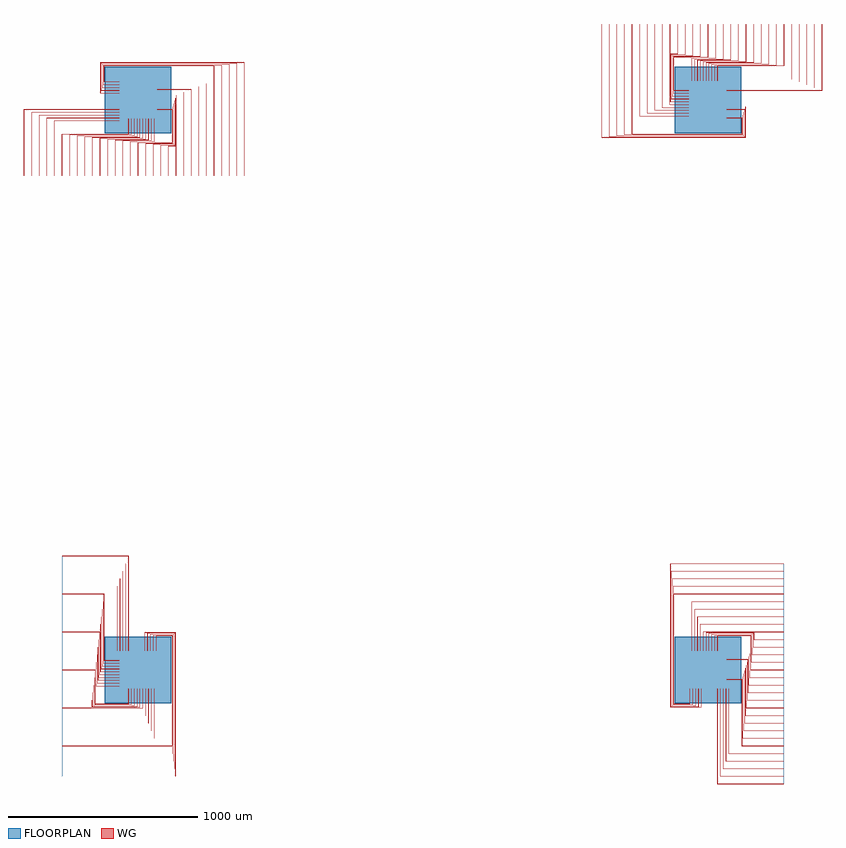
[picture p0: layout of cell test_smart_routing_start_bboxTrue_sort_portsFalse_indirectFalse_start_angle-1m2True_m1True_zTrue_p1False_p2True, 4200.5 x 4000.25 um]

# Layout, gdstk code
import gdstk
lib = gdstk.Library(unit=1e-6, precision=1e-09)
def R(c, l, rs):  # rectangles x0, y0, x1, y1
    for r in rs: c.add(gdstk.rectangle(r[:2], r[2:], *l))
def P(c, l, *ps):  # polygons
    for p in ps: c.add(gdstk.Polygon(p, *l))
WG = (1, 0)
FLOORPLAN = (10, 0)

test_smart_routing_start = lib.new_cell('test_smart_routing_start_bboxTrue_sort_portsFalse_indirectFalse_start_angle-1m2True_m1True_zTrue_p1False_p2True')
P(test_smart_routing_start, WG, [(3100,3049.75),(3100,3050.25),(3599.75,3050.25),(3599.75,3400),(3600.25,3400),(3600.25,3049.75)],
  [(3100,3064.75),(3100,3065.25),(3559.75,3065.25),(3559.75,3400),(3560.25,3400),(3560.25,3064.75)],
  [(3100,3079.75),(3100,3080.25),(3519.75,3080.25),(3519.75,3400),(3520.25,3400),(3520.25,3079.75)],
  [(3100,3094.75),(3100,3095.25),(3479.75,3095.25),(3479.75,3400),(3480.25,3400),(3480.25,3094.75)],
  [(3100,3109.75),(3100,3110.25),(3439.75,3110.25),(3439.75,3400),(3440.25,3400),(3440.25,3109.75)],
  [(3049.75,3100),(3049.75,3179.5),(3399.75,3179.5),(3399.75,3400),(3400.25,3400),(3400.25,3179),(3050.25,3179),(3050.25,3100)],
  [(3034.75,3100),(3034.75,3184),(3359.75,3184),(3359.75,3400),(3360.25,3400),(3360.25,3183.5),(3035.25,3183.5),(3035.25,3100)],
  [(3019.75,3100),(3019.75,3188.5),(3319.75,3188.5),(3319.75,3400),(3320.25,3400),(3320.25,3188),(3020.25,3188),(3020.25,3100)],
  [(3004.75,3100),(3004.75,3193),(3279.75,3193),(3279.75,3400),(3280.25,3400),(3280.25,3192.5),(3005.25,3192.5),(3005.25,3100)],
  [(2989.75,3100),(2989.75,3197.5),(3239.75,3197.5),(3239.75,3400),(3240.25,3400),(3240.25,3197),(2990.25,3197),(2990.25,3100)],
  [(2974.75,3100),(2974.75,3202),(3199.75,3202),(3199.75,3400),(3200.25,3400),(3200.25,3201.5),(2975.25,3201.5),(2975.25,3100)],
  [(2959.75,3100),(2959.75,3206.5),(3159.75,3206.5),(3159.75,3400),(3160.25,3400),(3160.25,3206),(2960.25,3206),(2960.25,3100)],
  [(2944.75,3100),(2944.75,3211),(3119.75,3211),(3119.75,3400),(3120.25,3400),(3120.25,3210.5),(2945.25,3210.5),(2945.25,3100)],
  [(2929.75,3100),(2929.75,3215.5),(3079.75,3215.5),(3079.75,3400),(3080.25,3400),(3080.25,3215),(2930.25,3215),(2930.25,3100)],
  [(2914.75,3100),(2914.75,3220),(3039.75,3220),(3039.75,3400),(3040.25,3400),(3040.25,3219.5),(2915.25,3219.5),(2915.25,3100)],
  [(2820.5,3049.75),(2820.5,3224.5),(2999.75,3224.5),(2999.75,3400),(3000.25,3400),(3000.25,3224),(2821,3224),(2821,3050.25),(2900,3050.25),(2900,3049.75)],
  [(2816,3034.75),(2816,3229),(2959.75,3229),(2959.75,3400),(2960.25,3400),(2960.25,3228.5),(2816.5,3228.5),(2816.5,3035.25),(2900,3035.25),(2900,3034.75)],
  [(2811.5,3019.75),(2811.5,3233.5),(2919.75,3233.5),(2919.75,3400),(2920.25,3400),(2920.25,3233),(2812,3233),(2812,3020.25),(2900,3020.25),(2900,3019.75)],
  [(2807,3004.75),(2807,3238),(2879.75,3238),(2879.75,3400),(2880.25,3400),(2880.25,3237.5),(2807.5,3237.5),(2807.5,3005.25),(2900,3005.25),(2900,3004.75)],
  [(2802.5,2989.75),(2802.5,3242.5),(2839.75,3242.5),(2839.75,3400),(2840.25,3400),(2840.25,3242),(2803,3242),(2803,2990.25),(2900,2990.25),(2900,2989.75)],
  [(2798,2974.75),(2798,3247),(2799.75,3247),(2799.75,3400),(2800.25,3400),(2800.25,3246.5),(2798.5,3246.5),(2798.5,2975.25),(2900,2975.25),(2900,2974.75)],
  [(2759.75,2959.75),(2759.75,3400),(2760.25,3400),(2760.25,2960.25),(2900,2960.25),(2900,2959.75)],
  [(2719.75,2944.75),(2719.75,3400),(2720.25,3400),(2720.25,2945.25),(2900,2945.25),(2900,2944.75)],
  [(2679.75,2929.75),(2679.75,3400),(2680.25,3400),(2680.25,2930.25),(2900,2930.25),(2900,2929.75)],
  [(2639.75,2914.75),(2639.75,3400),(2640.25,3400),(2640.25,2915.25),(2900,2915.25),(2900,2914.75)],
  [(2439.75,2802.5),(2439.75,3400),(2440.25,3400),(2440.25,2803),(3197,2803),(3197,2964.75),(3100,2964.75),(3100,2965.25),(3197.5,2965.25),(3197.5,2802.5)],
  [(2479.75,2807),(2479.75,3400),(2480.25,3400),(2480.25,2807.5),(3192.5,2807.5),(3192.5,2949.75),(3100,2949.75),(3100,2950.25),(3193,2950.25),(3193,2807)],
  [(2519.75,2811.5),(2519.75,3400),(2520.25,3400),(2520.25,2812),(3188,2812),(3188,2934.75),(3100,2934.75),(3100,2935.25),(3188.5,2935.25),(3188.5,2811.5)],
  [(2559.75,2816),(2559.75,3400),(2560.25,3400),(2560.25,2816.5),(3183.5,2816.5),(3183.5,2919.75),(3100,2919.75),(3100,2920.25),(3184,2920.25),(3184,2816)],
  [(2599.75,2820.5),(2599.75,3400),(2600.25,3400),(2600.25,2821),(3179,2821),(3179,2904.75),(3100,2904.75),(3100,2905.25),(3179.5,2905.25),(3179.5,2820.5)],
  [(-600.25,2600),(-600.25,2950.25),(-100,2950.25),(-100,2949.75),(-599.75,2949.75),(-599.75,2600)],
  [(-560.25,2600),(-560.25,2935.25),(-100,2935.25),(-100,2934.75),(-559.75,2934.75),(-559.75,2600)],
  [(-520.25,2600),(-520.25,2920.25),(-100,2920.25),(-100,2919.75),(-519.75,2919.75),(-519.75,2600)],
  [(-480.25,2600),(-480.25,2905.25),(-100,2905.25),(-100,2904.75),(-479.75,2904.75),(-479.75,2600)],
  [(-440.25,2600),(-440.25,2890.25),(-100,2890.25),(-100,2889.75),(-439.75,2889.75),(-439.75,2600)],
  [(-400.25,2600),(-400.25,2821),(-50.25,2821),(-50.25,2900),(-49.75,2900),(-49.75,2820.5),(-399.75,2820.5),(-399.75,2600)],
  [(-360.25,2600),(-360.25,2816.5),(-35.25,2816.5),(-35.25,2900),(-34.75,2900),(-34.75,2816),(-359.75,2816),(-359.75,2600)],
  [(-320.25,2600),(-320.25,2812),(-20.25,2812),(-20.25,2900),(-19.75,2900),(-19.75,2811.5),(-319.75,2811.5),(-319.75,2600)],
  [(-280.25,2600),(-280.25,2807.5),(-5.25,2807.5),(-5.25,2900),(-4.75,2900),(-4.75,2807),(-279.75,2807),(-279.75,2600)],
  [(-240.25,2600),(-240.25,2803),(9.75,2803),(9.75,2900),(10.25,2900),(10.25,2802.5),(-239.75,2802.5),(-239.75,2600)],
  [(-200.25,2600),(-200.25,2798.5),(24.75,2798.5),(24.75,2900),(25.25,2900),(25.25,2798),(-199.75,2798),(-199.75,2600)],
  [(-160.25,2600),(-160.25,2794),(39.75,2794),(39.75,2900),(40.25,2900),(40.25,2793.5),(-159.75,2793.5),(-159.75,2600)],
  [(-120.25,2600),(-120.25,2789.5),(54.75,2789.5),(54.75,2900),(55.25,2900),(55.25,2789),(-119.75,2789),(-119.75,2600)],
  [(-80.25,2600),(-80.25,2785),(69.75,2785),(69.75,2900),(70.25,2900),(70.25,2784.5),(-79.75,2784.5),(-79.75,2600)],
  [(-40.25,2600),(-40.25,2780.5),(84.75,2780.5),(84.75,2900),(85.25,2900),(85.25,2780),(-39.75,2780),(-39.75,2600)],
  [(-0.25,2600),(-0.25,2776),(179,2776),(179,2949.75),(100,2949.75),(100,2950.25),(179.5,2950.25),(179.5,2775.5),(0.25,2775.5),(0.25,2600)],
  [(39.75,2600),(39.75,2771.5),(183.5,2771.5),(183.5,2964.75),(100,2964.75),(100,2965.25),(184,2965.25),(184,2771),(40.25,2771),(40.25,2600)],
  [(79.75,2600),(79.75,2767),(188,2767),(188,2979.75),(100,2979.75),(100,2980.25),(188.5,2980.25),(188.5,2766.5),(80.25,2766.5),(80.25,2600)],
  [(119.75,2600),(119.75,2762.5),(192.5,2762.5),(192.5,2994.75),(100,2994.75),(100,2995.25),(193,2995.25),(193,2762),(120.25,2762),(120.25,2600)],
  [(159.75,2600),(159.75,2758),(197,2758),(197,3009.75),(100,3009.75),(100,3010.25),(197.5,3010.25),(197.5,2757.5),(160.25,2757.5),(160.25,2600)],
  [(199.75,2600),(199.75,2753.5),(201.5,2753.5),(201.5,3024.75),(100,3024.75),(100,3025.25),(202,3025.25),(202,2753),(200.25,2753),(200.25,2600)],
  [(239.75,2600),(239.75,3039.75),(100,3039.75),(100,3040.25),(240.25,3040.25),(240.25,2600)],
  [(279.75,2600),(279.75,3054.75),(100,3054.75),(100,3055.25),(280.25,3055.25),(280.25,2600)],
  [(319.75,2600),(319.75,3069.75),(100,3069.75),(100,3070.25),(320.25,3070.25),(320.25,2600)],
  [(359.75,2600),(359.75,3084.75),(100,3084.75),(100,3085.25),(360.25,3085.25),(360.25,2600)],
  [(559.75,2600),(559.75,3197),(-197,3197),(-197,3035.25),(-100,3035.25),(-100,3034.75),(-197.5,3034.75),(-197.5,3197.5),(560.25,3197.5),(560.25,2600)],
  [(519.75,2600),(519.75,3192.5),(-192.5,3192.5),(-192.5,3050.25),(-100,3050.25),(-100,3049.75),(-193,3049.75),(-193,3193),(520.25,3193),(520.25,2600)],
  [(479.75,2600),(479.75,3188),(-188,3188),(-188,3065.25),(-100,3065.25),(-100,3064.75),(-188.5,3064.75),(-188.5,3188.5),(480.25,3188.5),(480.25,2600)],
  [(439.75,2600),(439.75,3183.5),(-183.5,3183.5),(-183.5,3080.25),(-100,3080.25),(-100,3079.75),(-184,3079.75),(-184,3184),(440.25,3184),(440.25,2600)],
  [(399.75,2600),(399.75,3179),(-179,3179),(-179,3095.25),(-100,3095.25),(-100,3094.75),(-179.5,3094.75),(-179.5,3179.5),(400.25,3179.5),(400.25,2600)],
  [(-50.25,100),(-50.25,599.75),(-400,599.75),(-400,600.25),(-49.75,600.25),(-49.75,100)],
  [(-65.25,100),(-65.25,559.75),(-400,559.75),(-400,560.25),(-64.75,560.25),(-64.75,100)],
  [(-80.25,100),(-80.25,519.75),(-400,519.75),(-400,520.25),(-79.75,520.25),(-79.75,100)],
  [(-95.25,100),(-95.25,479.75),(-400,479.75),(-400,480.25),(-94.75,480.25),(-94.75,100)],
  [(-110.25,100),(-110.25,439.75),(-400,439.75),(-400,440.25),(-109.75,440.25),(-109.75,100)],
  [(-179.5,49.75),(-179.5,399.75),(-400,399.75),(-400,400.25),(-179,400.25),(-179,50.25),(-100,50.25),(-100,49.75)],
  [(-184,34.75),(-184,359.75),(-400,359.75),(-400,360.25),(-183.5,360.25),(-183.5,35.25),(-100,35.25),(-100,34.75)],
  [(-188.5,19.75),(-188.5,319.75),(-400,319.75),(-400,320.25),(-188,320.25),(-188,20.25),(-100,20.25),(-100,19.75)],
  [(-193,4.75),(-193,279.75),(-400,279.75),(-400,280.25),(-192.5,280.25),(-192.5,5.25),(-100,5.25),(-100,4.75)],
  [(-197.5,-10.25),(-197.5,239.75),(-400,239.75),(-400,240.25),(-197,240.25),(-197,-9.75),(-100,-9.75),(-100,-10.25)],
  [(-202,-25.25),(-202,199.75),(-400,199.75),(-400,200.25),(-201.5,200.25),(-201.5,-24.75),(-100,-24.75),(-100,-25.25)],
  [(-206.5,-40.25),(-206.5,159.75),(-400,159.75),(-400,160.25),(-206,160.25),(-206,-39.75),(-100,-39.75),(-100,-40.25)],
  [(-211,-55.25),(-211,119.75),(-400,119.75),(-400,120.25),(-210.5,120.25),(-210.5,-54.75),(-100,-54.75),(-100,-55.25)],
  [(-215.5,-70.25),(-215.5,79.75),(-400,79.75),(-400,80.25),(-215,80.25),(-215,-69.75),(-100,-69.75),(-100,-70.25)],
  [(-220,-85.25),(-220,39.75),(-400,39.75),(-400,40.25),(-219.5,40.25),(-219.5,-84.75),(-100,-84.75),(-100,-85.25)],
  [(-224.5,-179.5),(-224.5,-0.25),(-400,-0.25),(-400,0.25),(-224,0.25),(-224,-179),(-50.25,-179),(-50.25,-100),(-49.75,-100),(-49.75,-179.5)],
  [(-229,-184),(-229,-40.25),(-400,-40.25),(-400,-39.75),(-228.5,-39.75),(-228.5,-183.5),(-35.25,-183.5),(-35.25,-100),(-34.75,-100),(-34.75,-184)],
  [(-233.5,-188.5),(-233.5,-80.25),(-400,-80.25),(-400,-79.75),(-233,-79.75),(-233,-188),(-20.25,-188),(-20.25,-100),(-19.75,-100),(-19.75,-188.5)],
  [(-238,-193),(-238,-120.25),(-400,-120.25),(-400,-119.75),(-237.5,-119.75),(-237.5,-192.5),(-5.25,-192.5),(-5.25,-100),(-4.75,-100),(-4.75,-193)],
  [(-242.5,-197.5),(-242.5,-160.25),(-400,-160.25),(-400,-159.75),(-242,-159.75),(-242,-197),(9.75,-197),(9.75,-100),(10.25,-100),(10.25,-197.5)],
  [(-247,-202),(-247,-200.25),(-400,-200.25),(-400,-199.75),(-246.5,-199.75),(-246.5,-201.5),(24.75,-201.5),(24.75,-100),(25.25,-100),(25.25,-202)],
  [(-400,-240.25),(-400,-239.75),(39.75,-239.75),(39.75,-100),(40.25,-100),(40.25,-240.25)],
  [(-400,-280.25),(-400,-279.75),(54.75,-279.75),(54.75,-100),(55.25,-100),(55.25,-280.25)],
  [(-400,-320.25),(-400,-319.75),(69.75,-319.75),(69.75,-100),(70.25,-100),(70.25,-320.25)],
  [(-400,-360.25),(-400,-359.75),(84.75,-359.75),(84.75,-100),(85.25,-100),(85.25,-360.25)],
  [(-400,-560.25),(-400,-559.75),(197,-559.75),(197,197),(35.25,197),(35.25,100),(34.75,100),(34.75,197.5),(197.5,197.5),(197.5,-560.25)],
  [(-400,-520.25),(-400,-519.75),(192.5,-519.75),(192.5,192.5),(50.25,192.5),(50.25,100),(49.75,100),(49.75,193),(193,193),(193,-520.25)],
  [(-400,-480.25),(-400,-479.75),(188,-479.75),(188,188),(65.25,188),(65.25,100),(64.75,100),(64.75,188.5),(188.5,188.5),(188.5,-480.25)],
  [(-400,-440.25),(-400,-439.75),(183.5,-439.75),(183.5,183.5),(80.25,183.5),(80.25,100),(79.75,100),(79.75,184),(184,184),(184,-440.25)],
  [(-400,-400.25),(-400,-399.75),(179,-399.75),(179,179),(95.25,179),(95.25,100),(94.75,100),(94.75,179.5),(179.5,179.5),(179.5,-400.25)],
  [(3049.75,-600.25),(3049.75,-100),(3050.25,-100),(3050.25,-599.75),(3400,-599.75),(3400,-600.25)],
  [(3064.75,-560.25),(3064.75,-100),(3065.25,-100),(3065.25,-559.75),(3400,-559.75),(3400,-560.25)],
  [(3079.75,-520.25),(3079.75,-100),(3080.25,-100),(3080.25,-519.75),(3400,-519.75),(3400,-520.25)],
  [(3094.75,-480.25),(3094.75,-100),(3095.25,-100),(3095.25,-479.75),(3400,-479.75),(3400,-480.25)],
  [(3109.75,-440.25),(3109.75,-100),(3110.25,-100),(3110.25,-439.75),(3400,-439.75),(3400,-440.25)],
  [(3179,-400.25),(3179,-50.25),(3100,-50.25),(3100,-49.75),(3179.5,-49.75),(3179.5,-399.75),(3400,-399.75),(3400,-400.25)],
  [(3183.5,-360.25),(3183.5,-35.25),(3100,-35.25),(3100,-34.75),(3184,-34.75),(3184,-359.75),(3400,-359.75),(3400,-360.25)],
  [(3188,-320.25),(3188,-20.25),(3100,-20.25),(3100,-19.75),(3188.5,-19.75),(3188.5,-319.75),(3400,-319.75),(3400,-320.25)],
  [(3192.5,-280.25),(3192.5,-5.25),(3100,-5.25),(3100,-4.75),(3193,-4.75),(3193,-279.75),(3400,-279.75),(3400,-280.25)],
  [(3197,-240.25),(3197,9.75),(3100,9.75),(3100,10.25),(3197.5,10.25),(3197.5,-239.75),(3400,-239.75),(3400,-240.25)],
  [(3201.5,-200.25),(3201.5,24.75),(3100,24.75),(3100,25.25),(3202,25.25),(3202,-199.75),(3400,-199.75),(3400,-200.25)],
  [(3206,-160.25),(3206,39.75),(3100,39.75),(3100,40.25),(3206.5,40.25),(3206.5,-159.75),(3400,-159.75),(3400,-160.25)],
  [(3210.5,-120.25),(3210.5,54.75),(3100,54.75),(3100,55.25),(3211,55.25),(3211,-119.75),(3400,-119.75),(3400,-120.25)],
  [(3215,-80.25),(3215,69.75),(3100,69.75),(3100,70.25),(3215.5,70.25),(3215.5,-79.75),(3400,-79.75),(3400,-80.25)],
  [(3219.5,-40.25),(3219.5,84.75),(3100,84.75),(3100,85.25),(3220,85.25),(3220,-39.75),(3400,-39.75),(3400,-40.25)],
  [(3224,-0.25),(3224,179),(3050.25,179),(3050.25,100),(3049.75,100),(3049.75,179.5),(3224.5,179.5),(3224.5,0.25),(3400,0.25),(3400,-0.25)],
  [(3228.5,39.75),(3228.5,183.5),(3035.25,183.5),(3035.25,100),(3034.75,100),(3034.75,184),(3229,184),(3229,40.25),(3400,40.25),(3400,39.75)],
  [(3233,79.75),(3233,188),(3020.25,188),(3020.25,100),(3019.75,100),(3019.75,188.5),(3233.5,188.5),(3233.5,80.25),(3400,80.25),(3400,79.75)],
  [(3004.75,100),(3004.75,193),(3238,193),(3238,120.25),(3400,120.25),(3400,119.75),(3237.5,119.75),(3237.5,192.5),(3005.25,192.5),(3005.25,100)],
  [(2989.75,100),(2989.75,197.5),(3242.5,197.5),(3242.5,160.25),(3400,160.25),(3400,159.75),(3242,159.75),(3242,197),(2990.25,197),(2990.25,100)],
  [(2974.75,100),(2974.75,202),(3247,202),(3247,200.25),(3400,200.25),(3400,199.75),(3246.5,199.75),(3246.5,201.5),(2975.25,201.5),(2975.25,100)],
  [(2959.75,100),(2959.75,240.25),(3400,240.25),(3400,239.75),(2960.25,239.75),(2960.25,100)],
  [(2944.75,100),(2944.75,280.25),(3400,280.25),(3400,279.75),(2945.25,279.75),(2945.25,100)],
  [(2929.75,100),(2929.75,320.25),(3400,320.25),(3400,319.75),(2930.25,319.75),(2930.25,100)],
  [(2914.75,100),(2914.75,360.25),(3400,360.25),(3400,359.75),(2915.25,359.75),(2915.25,100)],
  [(2802.5,-197.5),(2802.5,560.25),(3400,560.25),(3400,559.75),(2803,559.75),(2803,-197),(2964.75,-197),(2964.75,-100),(2965.25,-100),(2965.25,-197.5)],
  [(2807,-193),(2807,520.25),(3400,520.25),(3400,519.75),(2807.5,519.75),(2807.5,-192.5),(2949.75,-192.5),(2949.75,-100),(2950.25,-100),(2950.25,-193)],
  [(2811.5,-188.5),(2811.5,480.25),(3400,480.25),(3400,479.75),(2812,479.75),(2812,-188),(2934.75,-188),(2934.75,-100),(2935.25,-100),(2935.25,-188.5)],
  [(2816,-184),(2816,440.25),(3400,440.25),(3400,439.75),(2816.5,439.75),(2816.5,-183.5),(2919.75,-183.5),(2919.75,-100),(2920.25,-100),(2920.25,-184)],
  [(2820.5,-179.5),(2820.5,400.25),(3400,400.25),(3400,399.75),(2821,399.75),(2821,-179),(2904.75,-179),(2904.75,-100),(2905.25,-100),(2905.25,-179.5)])
R(test_smart_routing_start, FLOORPLAN, [(-175,-175,175,175), (2825,-175,3175,175), (-175,2825,175,3175), (2825,2825,3175,3175)])
P(test_smart_routing_start, FLOORPLAN, [(-400,-560),(-400,600),(-400,600),(-400,-560)],
  [(-600,2600),(-600,2600),(560,2600),(560,2600)],
  [(3400,-600),(3400,560),(3400,560),(3400,-600)],
  [(2440,3400),(2440,3400),(3600,3400),(3600,3400)])

lib.write_gds('test_smart_routing_start_bboxTrue_sort_portsFalse_indirectFalse_start_angle-1m2True_m1True_zTrue_p1False_p2True.gds')
